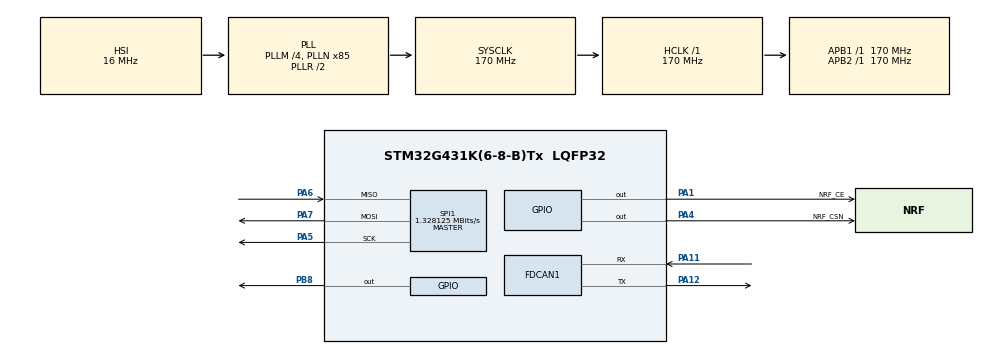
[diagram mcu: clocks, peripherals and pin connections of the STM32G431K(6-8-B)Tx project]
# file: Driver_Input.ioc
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FDCAN1.CalculateBaudRateNominal=3541666
FDCAN1.CalculateTimeBitNominal=282
FDCAN1.CalculateTimeQuantumNominal=94.11764705882354
FDCAN1.Mode=FDCAN_MODE_INTERNAL_LOOPBACK
FREERTOS.Tasks01=defaultTask,24,128,StartDefaultTask,Default,NULL,Dynamic,NULL,NULL;ControlTask,32,256,StartControlTask,Default,NULL,Dynamic,NULL,NULL;DriverInputTask,24,256,StartDriverInputTask,Default,NULL,Dynamic,NULL,NULL
FREERTOS.configCHECK_FOR_STACK_OVERFLOW=2
FREERTOS.configTOTAL_HEAP_SIZE=8192
FREERTOS.configUSE_MALLOC_FAILED_HOOK=1
FREERTOS.configUSE_NEWLIB_REENTRANT=1
Mcu.Family=STM32G4
Mcu.Name=STM32G431K(6-8-B)Tx
Mcu.Package=LQFP32
NUCLEO-G431KB.Bsp_Common_DEMO=true
NUCLEO-G431KB.LD2=true
NUCLEO-G431KB.VCP=true
NVIC.PriorityGroup=NVIC_PRIORITYGROUP_4
NVIC.TIM6_DAC_IRQn=true\:15\:0\:false\:false\:true\:false\:false\:true\:true
NVIC.TimeBase=TIM6_DAC_IRQn
NVIC.TimeBaseIP=TIM6
PA1.GPIO_Label=NRF_CE
PA1.Signal=GPIO_Output
PA11.Mode=FDCAN_Activate
PA11.Signal=FDCAN1_RX
PA12.Mode=FDCAN_Activate
PA12.Signal=FDCAN1_TX
PA13.GPIO_Label=T_SWDIO
PA13.Signal=SYS_JTMS-SWDIO
PA14.GPIO_Label=T_SWCLK
PA14.Signal=SYS_JTCK-SWCLK
PA2.Signal=USART2_TX
PA3.Signal=USART2_RX
PA4.GPIO_Label=NRF_CSN
PA4.Signal=GPIO_Output
PA5.Mode=Full_Duplex_Master
PA5.Signal=SPI1_SCK
PA6.Mode=Full_Duplex_Master
PA6.Signal=SPI1_MISO
PA7.Mode=Full_Duplex_Master
PA7.Signal=SPI1_MOSI
PB3.GPIO_Label=T_SWO
PB3.Signal=SYS_JTDO-SWO
PB8-BOOT0.Signal=GPIO_Output
ProjectManager.HeapSize=0x200
ProjectManager.StackSize=0x400
ProjectManager.TargetToolchain=STM32CubeIDE
RCC.ADC12Freq_Value=170000000
RCC.AHBFreq_Value=170000000
RCC.APB1Freq_Value=170000000
RCC.APB1TimFreq_Value=170000000
RCC.APB2Freq_Value=170000000
RCC.APB2TimFreq_Value=170000000
RCC.CortexFreq_Value=170000000
RCC.EXTERNAL_CLOCK_VALUE=12288000
RCC.HCLKFreq_Value=170000000
RCC.HSE_VALUE=8000000
RCC.HSI48_VALUE=48000000
RCC.HSI_VALUE=16000000
RCC.LSE_VALUE=32768
RCC.PLLM=RCC_PLLM_DIV4
RCC.PLLN=85
RCC.SYSCLKFreq_VALUE=170000000
RCC.SYSCLKSource=RCC_SYSCLKSOURCE_PLLCLK
RCC.USBFreq_Value=170000000
RCC.VCOOutputFreq_Value=340000000
SPI1.BaudRatePrescaler=SPI_BAUDRATEPRESCALER_128
SPI1.CalculateBaudRate=1.328125 MBits/s
SPI1.DataSize=SPI_DATASIZE_8BIT
SPI1.Direction=SPI_DIRECTION_2LINES
SPI1.Mode=SPI_MODE_MASTER
SPI1.NSSPMode=SPI_NSS_PULSE_DISABLE
SPI1.VirtualType=VM_MASTER
VP_FREERTOS_VS_CMSIS_V2.Mode=CMSIS_V2
VP_NUCLEO-G431KB_VS_BSP_COMMON.Mode=COMMON
VP_SYS_VS_DBSignals.Mode=DisableDeadBatterySignals
VP_SYS_VS_tim6.Mode=TIM6
board=NUCLEO-G431KB

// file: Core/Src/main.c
/* USER CODE BEGIN Header */
/**
  ******************************************************************************
  * @file           : main.c
  * @brief          : Main program body
  ******************************************************************************
  * @attention
  *
  * Copyright (c) 2026 STMicroelectronics.
  * All rights reserved.
  *
  * This software is licensed under terms that can be found in the LICENSE file
  * in the root directory of this software component.
  * If no LICENSE file comes with this software, it is provided AS-IS.
  *
  ******************************************************************************
  */
/* USER CODE END Header */
#include "main.h"
#include "cmsis_os.h"

/* USER CODE BEGIN Includes */
#include <string.h>
#include "task.h" /* uxTaskGetStackHighWaterMark */
/* USER CODE END Includes */

/* USER CODE BEGIN PD */
#define NRF24_CMD_R_REGISTER   0x00u
#define NRF24_CMD_W_REGISTER   0x20u
#define NRF24_CMD_NOP          0xFFu

#define NRF24_REG_CONFIG       0x00u
#define NRF24_REG_STATUS       0x07u
/* USER CODE END PD */

/* USER CODE BEGIN PM */
/* Tick rate is 1000Hz (FreeRTOSConfig.h) so 1 tick == 1ms. */
#define CONTROL_TASK_PERIOD_MS       10U  /* TBD: 5~10ms 후보, Owner FROZEN 필요 (ARCHITECTURE.md 7.1) */
#define DRIVER_INPUT_TASK_PERIOD_MS  10U  /* TBD: RF IRQ 핀 미배정 상태라 periodic polling, ARCHITECTURE.md 7.6 */
#define CONTROL_LED_TOGGLE_PERIOD_MS    500U
#define CONTROL_STACK_LOG_EVERY_N       100U
#define DRIVER_INPUT_STACK_LOG_EVERY_N  100U
/* USER CODE END PM */

COM_InitTypeDef BspCOMInit;

FDCAN_HandleTypeDef hfdcan1;

SPI_HandleTypeDef hspi1;

/* Definitions for defaultTask */
osThreadId_t defaultTaskHandle;
const osThreadAttr_t defaultTask_attributes = {
  .name = "defaultTask",
  .priority = (osPriority_t) osPriorityNormal,
  .stack_size = 128 * 4
};
/* Definitions for ControlTask */
osThreadId_t ControlTaskHandle;
const osThreadAttr_t ControlTask_attributes = {
  .name = "ControlTask",
  .priority = (osPriority_t) osPriorityAboveNormal,
  .stack_size = 256 * 4
};
/* Definitions for DriverInputTask */
osThreadId_t DriverInputTaskHandle;
const osThreadAttr_t DriverInputTask_attributes = {
  .name = "DriverInputTask",
  .priority = (osPriority_t) osPriorityNormal,
  .stack_size = 256 * 4
};
/* USER CODE BEGIN PV */
volatile uint32_t g_controlCycleCount = 0;
volatile uint32_t g_controlOverrunCount = 0;
volatile uint32_t g_controlStackHighWaterMark = 0;

volatile uint32_t g_driverInputCycleCount = 0;
volatile uint32_t g_driverInputOverrunCount = 0;
volatile uint32_t g_driverInputStackHighWaterMark = 0;
/* USER CODE END PV */

void SystemClock_Config(void);
static void MX_GPIO_Init(void);
static void MX_FDCAN1_Init(void);
static void MX_SPI1_Init(void);
void StartDefaultTask(void *argument);
void StartControlTask(void *argument);
void StartDriverInputTask(void *argument);

/* USER CODE BEGIN PFP */
static void NRF24_CSN_Low(void);
static void NRF24_CSN_High(void);
static uint8_t NRF24_ReadRegister(uint8_t reg);
static void NRF24_WriteRegister(uint8_t reg, uint8_t value);
/* USER CODE END PFP */

/* USER CODE BEGIN 0 */
static void NRF24_CSN_Low(void)
{
  HAL_GPIO_WritePin(NRF_CSN_GPIO_Port, NRF_CSN_Pin, GPIO_PIN_RESET);
}

static void NRF24_CSN_High(void)
{
  HAL_GPIO_WritePin(NRF_CSN_GPIO_Port, NRF_CSN_Pin, GPIO_PIN_SET);
}

/* R_REGISTER: 두 번째로 보낸 바이트에 대한 응답이 레지스터 값, 첫 번째 응답 바이트는 STATUS.
 * Timeout을 짧게 둬서 SPI가 응답 안 해도 코드가 멈추지 않게 한다(HAL_MAX_DELAY 금지). */
static uint8_t NRF24_ReadRegister(uint8_t reg)
{
  uint8_t tx[2] = { (uint8_t)(NRF24_CMD_R_REGISTER | (reg & 0x1Fu)), NRF24_CMD_NOP };
  uint8_t rx[2] = { 0 };
  HAL_StatusTypeDef status;

  NRF24_CSN_Low();
  status = HAL_SPI_TransmitReceive(&hspi1, tx, rx, 2, 100);
  NRF24_CSN_High();

  if (status != HAL_OK)
  {
    printf("NRF24 SPI read reg=0x%02X FAILED, HAL status=%d, ErrorCode=0x%08lX\r\n",
           reg, (int)status, (unsigned long)HAL_SPI_GetError(&hspi1));
  }

  return rx[1];
}

static void NRF24_WriteRegister(uint8_t reg, uint8_t value)
{
  uint8_t tx[2] = { (uint8_t)(NRF24_CMD_W_REGISTER | (reg & 0x1Fu)), value };
  uint8_t rx[2] = { 0 };
  HAL_StatusTypeDef status;

  NRF24_CSN_Low();
  status = HAL_SPI_TransmitReceive(&hspi1, tx, rx, 2, 100);
  NRF24_CSN_High();

  if (status != HAL_OK)
  {
    printf("NRF24 SPI write reg=0x%02X FAILED, HAL status=%d, ErrorCode=0x%08lX\r\n",
           reg, (int)status, (unsigned long)HAL_SPI_GetError(&hspi1));
  }
}
/* USER CODE END 0 */

int main(void)
{

  /* MCU Configuration--------------------------------------------------------*/

  /* Reset of all peripherals, Initializes the Flash interface and the Systick. */
  HAL_Init();

  /* Configure the system clock */
  SystemClock_Config();

  /* Initialize all configured peripherals */
  MX_GPIO_Init();
  MX_FDCAN1_Init();
  MX_SPI1_Init();
  /* USER CODE BEGIN 2 */
  /* nRF24L01 idle state: CE low(수신/송신 대기), CSN high(SPI 비선택) */
  HAL_GPIO_WritePin(NRF_CE_GPIO_Port, NRF_CE_Pin, GPIO_PIN_RESET);
  NRF24_CSN_High();
  HAL_Delay(100); /* nRF24L01 power-on 안정화 대기 */

  /* FDCAN1 internal loopback 시험: 외부 배선/트랜시버 없이 자체 확인.
   * StdFiltersNbr=0이라 non-matching 프레임을 기본값대로 두면 buffer에서 걸러지므로
   * global filter로 전부 RXFIFO0에 들어오게 한다. */
  if (HAL_FDCAN_ConfigGlobalFilter(&hfdcan1, FDCAN_ACCEPT_IN_RX_FIFO0, FDCAN_ACCEPT_IN_RX_FIFO0,
                                    FDCAN_FILTER_REMOTE, FDCAN_FILTER_REMOTE) != HAL_OK)
  {
    Error_Handler();
  }
  if (HAL_FDCAN_Start(&hfdcan1) != HAL_OK)
  {
    Error_Handler();
  }
  /* USER CODE END 2 */

  /* Init scheduler */
  osKernelInitialize();

  /* Create the thread(s) */
  /* creation of defaultTask */
  defaultTaskHandle = osThreadNew(StartDefaultTask, NULL, &defaultTask_attributes);

  /* creation of ControlTask */
  ControlTaskHandle = osThreadNew(StartControlTask, NULL, &ControlTask_attributes);

  /* creation of DriverInputTask */
  DriverInputTaskHandle = osThreadNew(StartDriverInputTask, NULL, &DriverInputTask_attributes);

  /* Initialize leds */
  BSP_LED_Init(LED_GREEN);

  /* Initialize COM1 port (115200, 8 bits (7-bit data + 1 stop bit), no parity */
  BspCOMInit.BaudRate   = 115200;
  BspCOMInit.WordLength = COM_WORDLENGTH_8B;
  BspCOMInit.StopBits   = COM_STOPBITS_1;
  BspCOMInit.Parity     = COM_PARITY_NONE;
  BspCOMInit.HwFlowCtl  = COM_HWCONTROL_NONE;
  if (BSP_COM_Init(COM1, &BspCOMInit) != BSP_ERROR_NONE)
  {
    Error_Handler();
  }

  /* USER CODE BEGIN BSP */

  /* -- Sample board code to send message over COM1 port ---- */
  printf("Welcome to STM32 world !\r\n");

  /* -- Sample board code to switch on leds ---- */
  BSP_LED_On(LED_GREEN);

  /* nRF24L01 SPI 레지스터 읽기/쓰기 시험 (T-RF-000 다음 bench 단계) */
  {
    uint8_t status_before = NRF24_ReadRegister(NRF24_REG_STATUS);
    uint8_t config_before = NRF24_ReadRegister(NRF24_REG_CONFIG);

    NRF24_WriteRegister(NRF24_REG_CONFIG, 0x0A);
    uint8_t config_after = NRF24_ReadRegister(NRF24_REG_CONFIG);

    printf("NRF24 STATUS=0x%02X CONFIG(before)=0x%02X CONFIG(after write 0x0A)=0x%02X\r\n",
           status_before, config_before, config_after);
  }

  /* FDCAN1 internal loopback 시험: 배선 없이 TX->RX 자체 확인 */
  {
    FDCAN_TxHeaderTypeDef TxHeader;
    FDCAN_RxHeaderTypeDef RxHeader = {0};
    uint8_t TxData[8] = {0x11, 0x22, 0x33, 0x44, 0x55, 0x66, 0x77, 0x88};
    uint8_t RxData[8] = {0};
    uint32_t start_tick;
    uint8_t loopback_ok = 0;

    TxHeader.Identifier = 0x123;
    TxHeader.IdType = FDCAN_STANDARD_ID;
    TxHeader.TxFrameType = FDCAN_DATA_FRAME;
    TxHeader.DataLength = FDCAN_DLC_BYTES_8;
    TxHeader.ErrorStateIndicator = FDCAN_ESI_ACTIVE;
    TxHeader.BitRateSwitch = FDCAN_BRS_OFF;
    TxHeader.FDFormat = FDCAN_CLASSIC_CAN;
    TxHeader.TxEventFifoControl = FDCAN_NO_TX_EVENTS;
    TxHeader.MessageMarker = 0;

    if (HAL_FDCAN_AddMessageToTxFifoQ(&hfdcan1, &TxHeader, TxData) != HAL_OK)
    {
      Error_Handler();
    }

    start_tick = HAL_GetTick();
    while (HAL_FDCAN_GetRxFifoFillLevel(&hfdcan1, FDCAN_RX_FIFO0) == 0)
    {
      if ((HAL_GetTick() - start_tick) > 100)
      {
        break; /* timeout: loopback_ok는 0으로 유지 */
      }
    }

    if (HAL_FDCAN_GetRxFifoFillLevel(&hfdcan1, FDCAN_RX_FIFO0) > 0)
    {
      if (HAL_FDCAN_GetRxMessage(&hfdcan1, FDCAN_RX_FIFO0, &RxHeader, RxData) == HAL_OK)
      {
        loopback_ok = (RxHeader.Identifier == TxHeader.Identifier) &&
                      (memcmp(TxData, RxData, 8) == 0);
      }
    }

    printf("FDCAN internal loopback: %s (rx id=0x%03lX)\r\n",
           loopback_ok ? "PASS" : "FAIL", (unsigned long)RxHeader.Identifier);
  }

  /* USER CODE END BSP */

  /* Start scheduler */
  osKernelStart();

  /* We should never get here as control is now taken by the scheduler */

  /* Infinite loop */
  /* USER CODE BEGIN WHILE */
  while (1)
  {

/* -- Sample board code to toggle leds ---- */
       BSP_LED_Toggle(LED_GREEN);

    /* USER CODE END WHILE */

  }
}

void SystemClock_Config(void)
{
  RCC_OscInitTypeDef RCC_OscInitStruct = {0};
  RCC_ClkInitTypeDef RCC_ClkInitStruct = {0};

  /** Configure the main internal regulator output voltage
  */
  HAL_PWREx_ControlVoltageScaling(PWR_REGULATOR_VOLTAGE_SCALE1_BOOST);

  /** Initializes the RCC Oscillators according to the specified parameters
  * in the RCC_OscInitTypeDef structure.
  */
  RCC_OscInitStruct.OscillatorType = RCC_OSCILLATORTYPE_HSI;
  RCC_OscInitStruct.HSIState = RCC_HSI_ON;
  RCC_OscInitStruct.HSICalibrationValue = RCC_HSICALIBRATION_DEFAULT;
  RCC_OscInitStruct.PLL.PLLState = RCC_PLL_ON;
  RCC_OscInitStruct.PLL.PLLSource = RCC_PLLSOURCE_HSI;
  RCC_OscInitStruct.PLL.PLLM = RCC_PLLM_DIV4;
  RCC_OscInitStruct.PLL.PLLN = 85;
  RCC_OscInitStruct.PLL.PLLP = RCC_PLLP_DIV2;
  RCC_OscInitStruct.PLL.PLLQ = RCC_PLLQ_DIV2;
  RCC_OscInitStruct.PLL.PLLR = RCC_PLLR_DIV2;
  if (HAL_RCC_OscConfig(&RCC_OscInitStruct) != HAL_OK)
  {
    Error_Handler();
  }

  /** Initializes the CPU, AHB and APB buses clocks
  */
  RCC_ClkInitStruct.ClockType = RCC_CLOCKTYPE_HCLK|RCC_CLOCKTYPE_SYSCLK
                              |RCC_CLOCKTYPE_PCLK1|RCC_CLOCKTYPE_PCLK2;
  RCC_ClkInitStruct.SYSCLKSource = RCC_SYSCLKSOURCE_PLLCLK;
  RCC_ClkInitStruct.AHBCLKDivider = RCC_SYSCLK_DIV1;
  RCC_ClkInitStruct.APB1CLKDivider = RCC_HCLK_DIV1;
  RCC_ClkInitStruct.APB2CLKDivider = RCC_HCLK_DIV1;

  if (HAL_RCC_ClockConfig(&RCC_ClkInitStruct, FLASH_LATENCY_4) != HAL_OK)
  {
    Error_Handler();
  }
}

static void MX_FDCAN1_Init(void)
{

  hfdcan1.Instance = FDCAN1;
  hfdcan1.Init.ClockDivider = FDCAN_CLOCK_DIV1;
  hfdcan1.Init.FrameFormat = FDCAN_FRAME_CLASSIC;
  hfdcan1.Init.Mode = FDCAN_MODE_INTERNAL_LOOPBACK;
  hfdcan1.Init.AutoRetransmission = DISABLE;
  hfdcan1.Init.TransmitPause = DISABLE;
  hfdcan1.Init.ProtocolException = DISABLE;
  hfdcan1.Init.NominalPrescaler = 16;
  hfdcan1.Init.NominalSyncJumpWidth = 1;
  hfdcan1.Init.NominalTimeSeg1 = 1;
  hfdcan1.Init.NominalTimeSeg2 = 1;
  hfdcan1.Init.DataPrescaler = 1;
  hfdcan1.Init.DataSyncJumpWidth = 1;
  hfdcan1.Init.DataTimeSeg1 = 1;
  hfdcan1.Init.DataTimeSeg2 = 1;
  hfdcan1.Init.StdFiltersNbr = 0;
  hfdcan1.Init.ExtFiltersNbr = 0;
  hfdcan1.Init.TxFifoQueueMode = FDCAN_TX_FIFO_OPERATION;
  if (HAL_FDCAN_Init(&hfdcan1) != HAL_OK)
  {
    Error_Handler();
  }

}

static void MX_SPI1_Init(void)
{

  /* SPI1 parameter configuration*/
  hspi1.Instance = SPI1;
  hspi1.Init.Mode = SPI_MODE_MASTER;
  hspi1.Init.Direction = SPI_DIRECTION_2LINES;
  hspi1.Init.DataSize = SPI_DATASIZE_8BIT;
  hspi1.Init.CLKPolarity = SPI_POLARITY_LOW;
  hspi1.Init.CLKPhase = SPI_PHASE_1EDGE;
  hspi1.Init.NSS = SPI_NSS_SOFT;
  hspi1.Init.BaudRatePrescaler = SPI_BAUDRATEPRESCALER_128;
  hspi1.Init.FirstBit = SPI_FIRSTBIT_MSB;
  hspi1.Init.TIMode = SPI_TIMODE_DISABLE;
  hspi1.Init.CRCCalculation = SPI_CRCCALCULATION_DISABLE;
  hspi1.Init.CRCPolynomial = 7;
  hspi1.Init.CRCLength = SPI_CRC_LENGTH_DATASIZE;
  hspi1.Init.NSSPMode = SPI_NSS_PULSE_DISABLE;
  if (HAL_SPI_Init(&hspi1) != HAL_OK)
  {
    Error_Handler();
  }

}

static void MX_GPIO_Init(void)
{
  GPIO_InitTypeDef GPIO_InitStruct = {0};

  /* GPIO Ports Clock Enable */
  __HAL_RCC_GPIOA_CLK_ENABLE();
  __HAL_RCC_GPIOB_CLK_ENABLE();

  /*Configure GPIO pin Output Level */
  HAL_GPIO_WritePin(GPIOA, NRF_CE_Pin|NRF_CSN_Pin, GPIO_PIN_RESET);

  /*Configure GPIO pins : NRF_CE_Pin NRF_CSN_Pin */
  GPIO_InitStruct.Pin = NRF_CE_Pin|NRF_CSN_Pin;
  GPIO_InitStruct.Mode = GPIO_MODE_OUTPUT_PP;
  GPIO_InitStruct.Pull = GPIO_NOPULL;
  GPIO_InitStruct.Speed = GPIO_SPEED_FREQ_LOW;
  HAL_GPIO_Init(GPIOA, &GPIO_InitStruct);

}

void StartDefaultTask(void *argument)
{
  for(;;)
  {
    osDelay(1);
  }
}

void StartControlTask(void *argument)
{
  /* USER CODE BEGIN StartControlTask */
  uint32_t wakeTime = osKernelGetTickCount();
  uint32_t ledToggleAccumMs = 0;

  /* Motor PWM/Servo output: not yet implemented, Owner FROZEN 필요 (bench: RTOS skeleton only) */
  for(;;)
  {
    wakeTime += CONTROL_TASK_PERIOD_MS;
    if (osDelayUntil(wakeTime) != osOK)
    {
      /* Target tick already passed: previous cycle overran the period */
      g_controlOverrunCount++;
    }

    g_controlCycleCount++;

    ledToggleAccumMs += CONTROL_TASK_PERIOD_MS;
    if (ledToggleAccumMs >= CONTROL_LED_TOGGLE_PERIOD_MS)
    {
      ledToggleAccumMs = 0;
      BSP_LED_Toggle(LED_GREEN); /* bench heartbeat: task is alive */
    }

    if ((g_controlCycleCount % CONTROL_STACK_LOG_EVERY_N) == 0U)
    {
      g_controlStackHighWaterMark = (uint32_t)uxTaskGetStackHighWaterMark(NULL);
    }
  }
  /* USER CODE END StartControlTask */
}

void StartDriverInputTask(void *argument)
{
  /* USER CODE BEGIN StartDriverInputTask */
  uint32_t wakeTime = osKernelGetTickCount();

  /* RF(nRF24L01) 패킷 읽기/Driver_Input 발행: 핀/패킷 레이아웃 TBD, Owner FROZEN 필요.
   * IRQ 핀이 배정되면 이 periodic polling을 DriverInputNotify(Task Notification)
   * 기반 event-driven으로 교체한다 (ARCHITECTURE.md 7.3, 7.4). */
  for(;;)
  {
    wakeTime += DRIVER_INPUT_TASK_PERIOD_MS;
    if (osDelayUntil(wakeTime) != osOK)
    {
      g_driverInputOverrunCount++;
    }

    g_driverInputCycleCount++;

    if ((g_driverInputCycleCount % DRIVER_INPUT_STACK_LOG_EVERY_N) == 0U)
    {
      g_driverInputStackHighWaterMark = (uint32_t)uxTaskGetStackHighWaterMark(NULL);
    }
  }
  /* USER CODE END StartDriverInputTask */
}

void HAL_TIM_PeriodElapsedCallback(TIM_HandleTypeDef *htim)
{
  if (htim->Instance == TIM6)
  {
    HAL_IncTick();
  }
}
/* USER CODE BEGIN Header */
/**
  ******************************************************************************
  * @file           : main.c
  * @brief          : Main program body
  ******************************************************************************
  * @attention
  *
  * Copyright (c) 2026 STMicroelectronics.
  * All rights reserved.
  *
  * This software is licensed under terms that can be found in the LICENSE file
  * in the root directory of this software component.
  * If no LICENSE file comes with this software, it is provided AS-IS.
  *
  ******************************************************************************
  */
/* USER CODE END Header */

void Error_Handler(void)
{
  __disable_irq();
  while (1)
  {
  }
}

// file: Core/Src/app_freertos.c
/* USER CODE BEGIN Header */
/**
  ******************************************************************************
  * File Name          : app_freertos.c
  * Description        : Code for freertos applications
  ******************************************************************************
  * @attention
  *
  * Copyright (c) 2026 STMicroelectronics.
  * All rights reserved.
  *
  * This software is licensed under terms that can be found in the LICENSE file
  * in the root directory of this software component.
  * If no LICENSE file comes with this software, it is provided AS-IS.
  *
  ******************************************************************************
  */
/* USER CODE END Header */

#include "FreeRTOS.h"
#include "task.h"
#include "main.h"

/* Hook prototypes */
void vApplicationStackOverflowHook(xTaskHandle xTask, signed char *pcTaskName);
void vApplicationMallocFailedHook(void);

/* USER CODE BEGIN 4 */
void vApplicationStackOverflowHook(xTaskHandle xTask, signed char *pcTaskName)
{
   /* Run time stack overflow checking is performed if
   configCHECK_FOR_STACK_OVERFLOW is defined to 1 or 2. This hook function is
   called if a stack overflow is detected. */
   (void)xTask;
   (void)pcTaskName;
   __disable_irq();
   while (1)
   {
   }
}
/* USER CODE END 4 */

/* USER CODE BEGIN 5 */
void vApplicationMallocFailedHook(void)
{
   /* vApplicationMallocFailedHook() will only be called if
   configUSE_MALLOC_FAILED_HOOK is set to 1 in FreeRTOSConfig.h. It is a hook
   function that will get called if a call to pvPortMalloc() fails.
   pvPortMalloc() is called internally by the kernel whenever a task, queue,
   timer or semaphore is created. It is also called by various parts of the
   demo application. If heap_1.c or heap_2.c are used, then the size of the
   heap available to pvPortMalloc() is defined by configTOTAL_HEAP_SIZE in
   FreeRTOSConfig.h, and the xPortGetFreeHeapSize() API function can be used
   to query the size of free heap space that remains (although it does not
   provide information on how the remaining heap might be fragmented). */
}
/* USER CODE END 5 */
